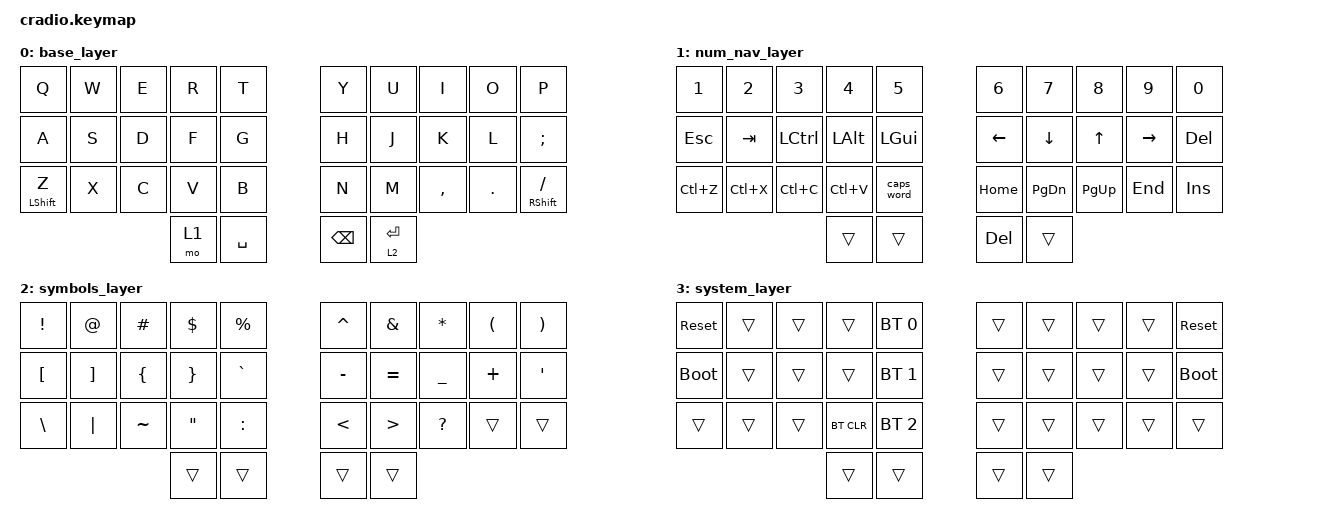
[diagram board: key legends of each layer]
// Copyright (c) 2022 The ZMK Contributors
// SPDX-License-Identifier: MIT
//
// Beginner-friendly default layout for the Cradio (34 keys).
//
// Layers:
//   0 base    - plain QWERTY, Shift on the bottom-row pinkies
//   1 num_nav - numbers, arrows, copy/paste. Hold the LEFT outer thumb key.
//   2 symbols - punctuation and brackets.    Hold the RIGHT outer thumb key
//                                            (tap it for Enter).
//   3 system  - Bluetooth + reset/bootloader. Hold BOTH layer keys at once.

#include <behaviors.dtsi>
#include <dt-bindings/zmk/keys.h>
#include <dt-bindings/zmk/bt.h>

/ {
    behaviors {
        // Hold = modifier, tap = key. Tap-preferred so normal typing is not
        // misread as a hold.
        ht: hold_tap {
            compatible = "zmk,behavior-hold-tap";
            #binding-cells = <2>;
            flavor = "tap-preferred";
            tapping-term-ms = <220>;
            quick-tap-ms = <150>;
            require-prior-idle-ms = <100>;
            bindings = <&kp>, <&kp>;
        };
    };

    // Holding layer 1 and layer 2 together activates layer 3 (system).
    conditional_layers {
        compatible = "zmk,conditional-layers";
        tri_layer {
            if-layers = <1 2>;
            then-layer = <3>;
        };
    };

    keymap {
        compatible = "zmk,keymap";

        // Layer 0
        base_layer {
            bindings = <
        //╭──────────┬──────────┬──────────┬──────────┬──────────╮   ╭──────────┬──────────┬──────────┬──────────┬──────────╮
        //│  Q       │  W       │  E       │  R       │  T       │   │  Y       │  U       │  I       │  O       │  P       │
            &kp Q      &kp W      &kp E      &kp R      &kp T          &kp Y      &kp U      &kp I      &kp O      &kp P
        //├──────────┼──────────┼──────────┼──────────┼──────────┤   ├──────────┼──────────┼──────────┼──────────┼──────────┤
        //│  A       │  S       │  D       │  F       │  G       │   │  H       │  J       │  K       │  L       │  ;       │
            &kp A      &kp S      &kp D      &kp F      &kp G          &kp H      &kp J      &kp K      &kp L      &kp SEMI
        //├──────────┼──────────┼──────────┼──────────┼──────────┤   ├──────────┼──────────┼──────────┼──────────┼──────────┤
        //│ Z/Shift  │  X       │  C       │  V       │  B       │   │  N       │  M       │ , <      │ . >      │ / Shift  │
            &ht LSHFT Z &kp X     &kp C      &kp V      &kp B          &kp N      &kp M      &kp COMMA  &kp DOT    &ht RSHFT FSLH
        //╰──────────┴──────────┴──────────┼──────────┼──────────┤   ├──────────┼──────────┼──────────┴──────────┴──────────╯
        //                                  │ NUM/NAV  │  SPACE   │   │ BKSPACE  │ ENTER/SYM│
                                            &mo 1      &kp SPACE      &kp BSPC   &lt 2 ENTER
        //                                 ╰──────────┴──────────╯   ╰──────────┴──────────╯
            >;
        };

        // Layer 1: numbers, navigation, shortcuts (hold left outer thumb)
        num_nav_layer {
            bindings = <
        //╭──────────┬──────────┬──────────┬──────────┬──────────╮   ╭──────────┬──────────┬──────────┬──────────┬──────────╮
        //│  1       │  2       │  3       │  4       │  5       │   │  6       │  7       │  8       │  9       │  0       │
            &kp N1     &kp N2     &kp N3     &kp N4     &kp N5         &kp N6     &kp N7     &kp N8     &kp N9     &kp N0
        //├──────────┼──────────┼──────────┼──────────┼──────────┤   ├──────────┼──────────┼──────────┼──────────┼──────────┤
        //│  ESC     │  TAB     │  CTRL    │  ALT     │  GUI     │   │  LEFT    │  DOWN    │  UP      │  RIGHT   │  DELETE  │
            &kp ESC    &kp TAB    &kp LCTRL  &kp LALT   &kp LGUI       &kp LEFT   &kp DOWN   &kp UP     &kp RIGHT  &kp DEL
        //├──────────┼──────────┼──────────┼──────────┼──────────┤   ├──────────┼──────────┼──────────┼──────────┼──────────┤
        //│  UNDO    │  CUT     │  COPY    │  PASTE   │ CAPSWORD │   │  HOME    │  PAGE DN │  PAGE UP │  END     │  INSERT  │
            &kp LC(Z)  &kp LC(X)  &kp LC(C)  &kp LC(V)  &caps_word     &kp HOME   &kp PG_DN  &kp PG_UP  &kp END    &kp INS
        //╰──────────┴──────────┴──────────┼──────────┼──────────┤   ├──────────┼──────────┼──────────┴──────────┴──────────╯
                                             &trans     &trans         &kp DEL    &trans
        //                                 ╰──────────┴──────────╯   ╰──────────┴──────────╯
            >;
        };

        // Layer 2: symbols (hold right outer thumb)
        symbols_layer {
            bindings = <
        //╭──────────┬──────────┬──────────┬──────────┬──────────╮   ╭──────────┬──────────┬──────────┬──────────┬──────────╮
        //│  !       │  @       │  #       │  $       │  %       │   │  ^       │  &       │  *       │  (       │  )       │
            &kp EXCL   &kp AT     &kp HASH   &kp DLLR   &kp PRCNT      &kp CARET  &kp AMPS   &kp ASTRK  &kp LPAR   &kp RPAR
        //├──────────┼──────────┼──────────┼──────────┼──────────┤   ├──────────┼──────────┼──────────┼──────────┼──────────┤
        //│  [       │  ]       │  {       │  }       │  `       │   │  -       │  =       │  _       │  +       │  '       │
            &kp LBKT   &kp RBKT   &kp LBRC   &kp RBRC   &kp GRAVE      &kp MINUS  &kp EQUAL  &kp UNDER  &kp PLUS   &kp SQT
        //├──────────┼──────────┼──────────┼──────────┼──────────┤   ├──────────┼──────────┼──────────┼──────────┼──────────┤
        //│  \       │  |       │  ~       │  "       │  :       │   │  <       │  >       │  ?       │          │          │
            &kp BSLH   &kp PIPE   &kp TILDE  &kp DQT    &kp COLON      &kp LT     &kp GT     &kp QMARK  &trans     &trans
        //╰──────────┴──────────┴──────────┼──────────┼──────────┤   ├──────────┼──────────┼──────────┴──────────┴──────────╯
                                             &trans     &trans         &trans     &trans
        //                                 ╰──────────┴──────────╯   ╰──────────┴──────────╯
            >;
        };

        // Layer 3: system (hold both layer keys)
        system_layer {
            bindings = <
        //╭──────────┬──────────┬──────────┬──────────┬──────────╮   ╭──────────┬──────────┬──────────┬──────────┬──────────╮
        //│ RESET    │          │          │          │PROFILE 0 │   │          │          │          │          │  RESET   │
           &sys_reset  &trans     &trans     &trans    &bt BT_SEL 0    &trans     &trans     &trans     &trans    &sys_reset
        //├──────────┼──────────┼──────────┼──────────┼──────────┤   ├──────────┼──────────┼──────────┼──────────┼──────────┤
        //│BOOTLOADER│          │          │          │PROFILE 1 │   │          │          │          │          │BOOTLOADER│
          &bootloader  &trans     &trans     &trans    &bt BT_SEL 1    &trans     &trans     &trans     &trans    &bootloader
        //├──────────┼──────────┼──────────┼──────────┼──────────┤   ├──────────┼──────────┼──────────┼──────────┼──────────┤
        //│          │          │          │ CLEAR BT │PROFILE 2 │   │          │          │          │          │          │
            &trans     &trans     &trans    &bt BT_CLR &bt BT_SEL 2    &trans     &trans     &trans     &trans     &trans
        //╰──────────┴──────────┴──────────┼──────────┼──────────┤   ├──────────┼──────────┼──────────┴──────────┴──────────╯
                                             &trans     &trans         &trans     &trans
        //                                 ╰──────────┴──────────╯   ╰──────────┴──────────╯
            >;
        };
    };
};
